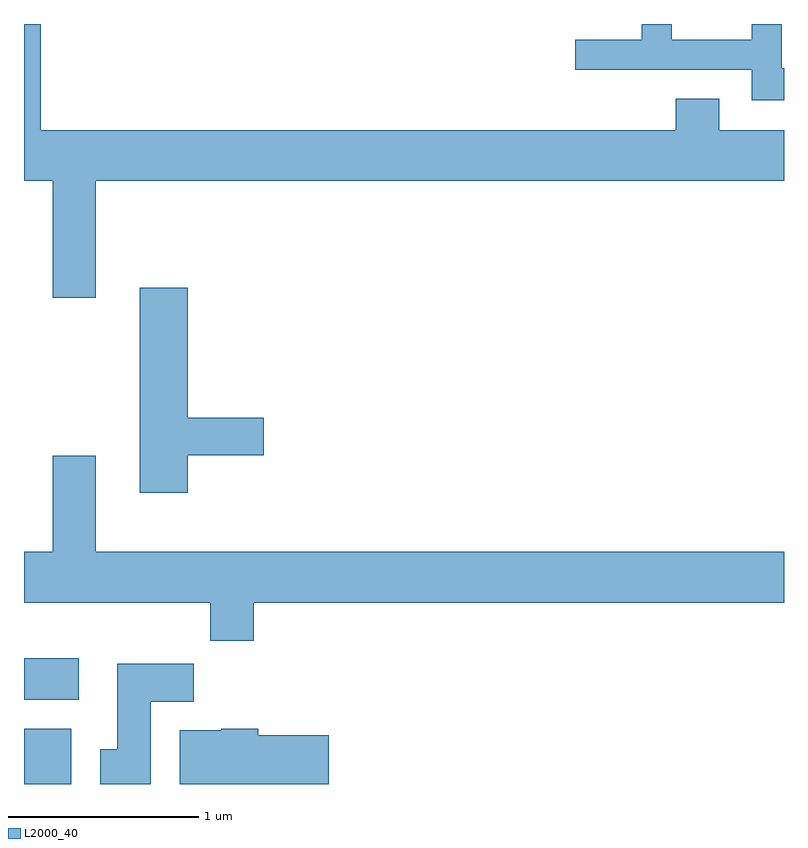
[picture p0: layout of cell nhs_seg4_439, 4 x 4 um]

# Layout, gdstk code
import gdstk
lib = gdstk.Library(unit=1e-6, precision=1e-09)
def R(c, l, rs):  # rectangles x0, y0, x1, y1
    for r in rs: c.add(gdstk.rectangle(r[:2], r[2:], *l))
def P(c, l, *ps):  # polygons
    for p in ps: c.add(gdstk.Polygon(p, *l))
L2000_40 = (2000, 40)

nhs_seg4_439 = lib.new_cell('nhs_seg4_439')
R(nhs_seg4_439, L2000_40, [(197.611,1315.982,197.859,1316.274), (197.611,1316.426,197.899,1316.644)])
P(nhs_seg4_439, L2000_40, [(197.989,1319.156),(201.611,1319.156),(201.611,1319.424),(201.269,1319.424),(201.269,1319.589),(201.041,1319.589),(201.041,1319.424),(197.699,1319.424),(197.699,1319.982),(197.611,1319.982),(197.611,1319.156),(197.761,1319.156),(197.761,1318.541),(197.989,1318.541)],
  [(201.611,1319.749),(201.599,1319.749),(201.599,1319.982),(201.441,1319.982),(201.441,1319.899),(201.019,1319.899),(201.019,1319.982),(200.861,1319.982),(200.861,1319.899),(200.513,1319.899),(200.513,1319.741),(201.441,1319.741),(201.441,1319.581),(201.611,1319.581)],
  [(198.474,1317.711),(198.874,1317.711),(198.874,1317.909),(198.474,1317.909),(198.474,1318.594),(198.221,1318.594),(198.221,1317.516),(198.474,1317.516)],
  [(198.819,1316.936),(201.611,1316.936),(201.611,1317.204),(197.989,1317.204),(197.989,1317.709),(197.761,1317.709),(197.761,1317.204),(197.611,1317.204),(197.611,1316.936),(198.591,1316.936),(198.591,1316.736),(198.819,1316.736)],
  [(198.279,1316.416),(198.504,1316.416),(198.504,1316.614),(198.101,1316.614),(198.101,1316.164),(198.011,1316.164),(198.011,1315.982),(198.279,1315.982)],
  [(199.214,1316.239),(198.844,1316.239),(198.844,1316.274),(198.65,1316.274),(198.65,1316.264),(198.431,1316.264),(198.431,1315.982),(199.214,1315.982)])

lib.write_gds('nhs_seg4_439.gds')
